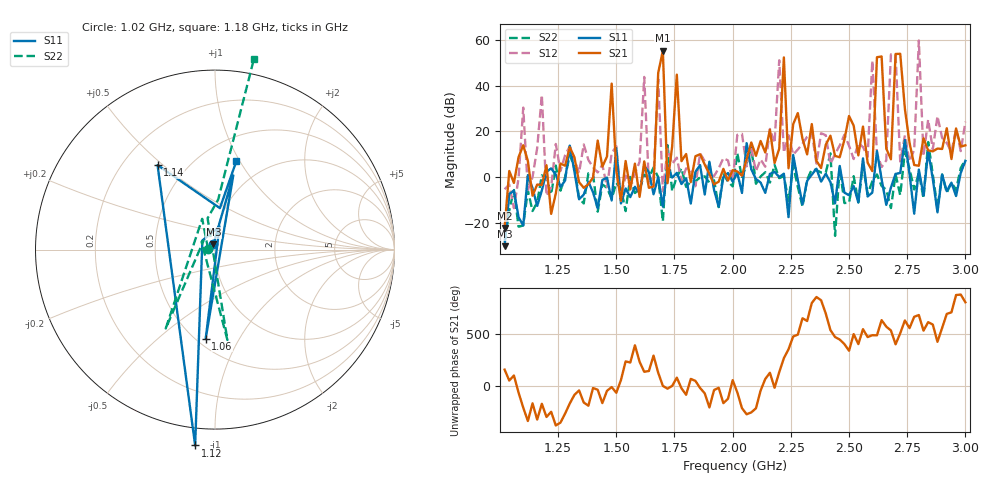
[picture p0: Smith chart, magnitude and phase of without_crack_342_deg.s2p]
# MHz S MA R 50
!  freq  S11  S21  S12  S22
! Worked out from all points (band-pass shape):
!   100 points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, 1.02 GHz to 3 GHz, reference 50 ohm
!   highest |S21| = 55.32 dB at 1.7 GHz (marker M1); lowest = -22.3 dB at 1.02 GHz (marker M2)
!   |S21| within 3 dB of the highest: 2.62 GHz to 2.64 GHz (20.3 MHz wide, 0.772 % of centre); 2.699 GHz to 2.721 GHz (22.05 MHz wide, 0.814 % of centre) (the widest 2 of 4)
!   lowest |S11| = -30.3 dB at 1.02 GHz (marker M3), VSWR 1.06, Z = 49 + j2.86 ohm
!   |S11| at or under -10 dB: start of sweep to 1.038 GHz; 1.067 GHz to 1.11 GHz (43.37 MHz wide, 3.98 % of centre); 1.153 GHz to 1.168 GHz (14.74 MHz wide, 1.27 % of centre) (the widest 3 of 16)
!   |S22| runs from -28.3 to 15.3 dB; largest |S21 - S12| = 9.8e+02
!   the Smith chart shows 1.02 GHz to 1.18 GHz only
!   S11 on the Smith chart (normalised r, x): 1.02 GHz: 0.98, +0.06; 1.06 GHz: 0.56, -0.73; 1.12 GHz: -0.08, -0.90; 1.14 GHz: 0.34, +0.48; 1.18 GHz: 0.73, +0.97
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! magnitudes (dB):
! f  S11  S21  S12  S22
! 1.02 GHz  -30.3  -22.3  -5.4  -28.3
! 1.06 GHz  -6.0  -2.6  -13.6  -5.7
! 1.12 GHz  0.8  7.0  -5.7  -5.9
! 1.14 GHz  -4.9  -8.2  -0.1  -14.9
! 1.18 GHz  -5.9  -3.5  36.0  0.7
! 1.36 GHz  -7.7  -4.8  14.2  -11.6
! 1.48 GHz  -10.3  40.9  10.4  -9.5
! 1.66 GHz  -7.6  -4.1  0.2  4.2
! 1.68 GHz  0.0  45.6  42.9  -0.2
! 1.7 GHz  -12.9  55.3  -6.3  -19.5
! 1.72 GHz  4.9  -2.7  12.2  14.0
! 1.76 GHz  1.8  44.8  8.5  0.1
! 2.02 GHz  1.8  2.4  18.5  10.5
! 2.34 GHz  1.0  23.2  19.5  3.3
! 2.6 GHz  -6.8  2.6  51.0  -1.9
! 2.64 GHz  -1.0  52.8  4.3  -3.9
! 2.68 GHz  -4.6  7.8  53.7  -13.6
! 2.7 GHz  1.4  53.9  53.7  1.2
! 2.72 GHz  1.7  54.0  6.8  -8.0
! 2.8 GHz  3.2  4.9  59.8  1.8
! 2.82 GHz  -8.1  17.0  9.2  -9.4
! 3 GHz  7.0  13.9  24.2  7.6
